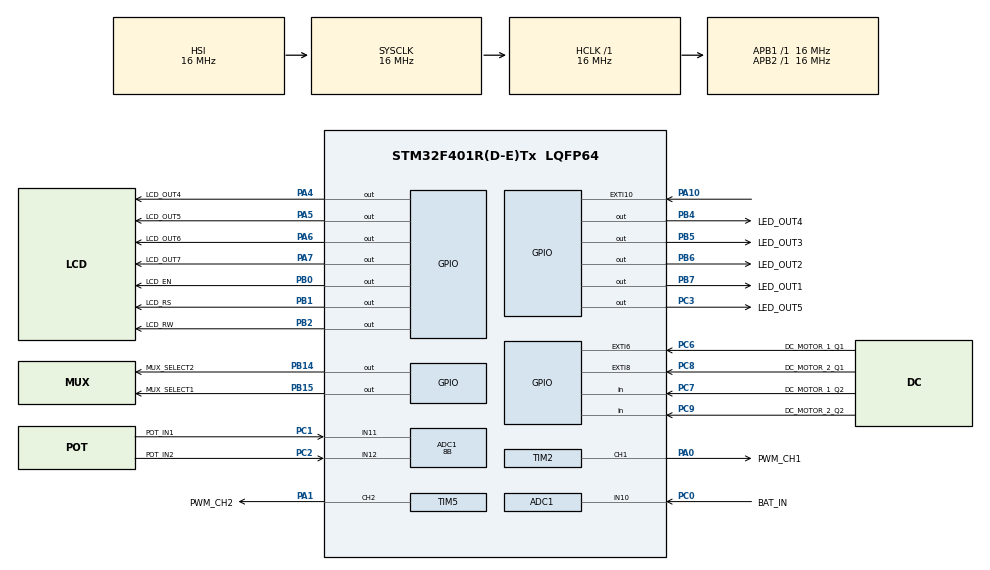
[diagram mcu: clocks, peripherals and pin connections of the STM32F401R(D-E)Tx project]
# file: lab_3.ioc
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Mcu.Family=STM32F4
VP_TIM5_VS_ClockSourceINT.Mode=Internal
RCC.CortexFreq_Value=16000000
PB14.GPIO_Label=MUX_SELECT2
SH.S_TIM5_CH2.0=TIM5_CH2,PWM Generation2 CH2
PC0.GPIO_Label=BAT_IN
PC6.GPIO_Label=DC_MOTOR_1_Q1
PA6.GPIO_Label=LCD_OUT6
PB0.GPIO_Label=LCD_EN
PB6.GPIO_Label=LED_OUT2
PB15.Signal=GPIO_Output
ProjectManager.StackSize=0x400
TIM1.Prescaler=159
NVIC.TIM5_IRQn=true\:0\:0\:false\:false\:true\:true\:true
RCC.HCLKFreq_Value=16000000
ADC1.Resolution=ADC_RESOLUTION_8B
RCC.APB2TimFreq_Value=16000000
PB6.Signal=GPIO_Output
PC7.Signal=GPIO_Input
TIM2.Channel-Output\ Compare2\ No\ Output=TIM_CHANNEL_2
PC3.Signal=GPIO_Output
RCC.AHBFreq_Value=16000000
NVIC.EXTI15_10_IRQn=true\:0\:0\:false\:false\:true\:true\:true
RCC.HSE_VALUE=25000000
PB2.Signal=GPIO_Output
TIM3.Prescaler=122
PB1.GPIO_Label=LCD_RS
NVIC.TIM2_IRQn=true\:0\:0\:false\:false\:true\:true\:true
PB7.Signal=GPIO_Output
TIM2.Channel-PWM\ Generation1\ CH1=TIM_CHANNEL_1
VP_TIM1_VS_ClockSourceINT.Mode=Internal
PB7.GPIO_Label=LED_OUT1
Mcu.Package=LQFP64
TIM2.Prescaler=159
PB1.Signal=GPIO_Output
PA6.Signal=GPIO_Output
PA10.GPIO_ModeDefaultEXTI=GPIO_MODE_IT_RISING_FALLING
PA10.Signal=GPXTI10
PB5.GPIO_Label=LED_OUT3
RCC.APB1TimFreq_Value=16000000
PA4.GPIO_Label=LCD_OUT4
PC2.GPIO_Label=POT_IN2
VP_TIM3_VS_ClockSourceINT.Mode=Internal
PB4.Signal=GPIO_Output
TIM5.Pulse-PWM\ Generation2\ CH2=500
TIM3.Channel-Output\ Compare1\ No\ Output=TIM_CHANNEL_1
PC9.GPIO_Label=DC_MOTOR_2_Q2
PC8.Signal=GPXTI8
PC2.Signal=ADCx_IN12
PC6.Signal=GPXTI6
PC0.Signal=ADCx_IN10
PA0-WKUP.GPIO_Label=PWM_CH1
PA0-WKUP.Signal=S_TIM2_CH1_ETR
TIM2.Pulse-PWM\ Generation1\ CH1=500
PC8.GPIO_Label=DC_MOTOR_2_Q1
SH.ADCx_IN12.0=ADC1_IN12,IN12
ProjectManager.TargetToolchain=STM32CubeIDE
ADC1.Channel-1\#ChannelRegularConversion=ADC_CHANNEL_10
TIM4.Prescaler=159
RCC.LSE_VALUE=32768
PA1.Signal=S_TIM5_CH2
PB14.Signal=GPIO_Output
PA5.Signal=GPIO_Output
board=custom
VP_TIM3_VS_no_output1.Mode=Output Compare1 No Output
RCC.VCOOutputFreq_Value=192000000
NVIC.TIM3_IRQn=true\:0\:0\:false\:false\:true\:true\:true
ADC1.EnableAnalogWatchDog=false
RCC.APB2Freq_Value=16000000
SH.ADCx_IN11.0=ADC1_IN11,IN11
PB4.GPIO_Label=LED_OUT4
PB15.GPIO_Label=MUX_SELECT1
VP_TIM2_VS_ClockSourceINT.Mode=Internal
PC1.GPIO_Label=POT_IN1
PA1.GPIO_Label=PWM_CH2
TIM2.Period=1000
VP_TIM2_VS_no_output2.Mode=Output Compare2 No Output
Mcu.Name=STM32F401R(D-E)Tx
PC7.GPIO_Label=DC_MOTOR_1_Q2
TIM5.Channel-PWM\ Generation2\ CH2=TIM_CHANNEL_2
PA4.Signal=GPIO_Output
RCC.SYSCLKFreq_VALUE=16000000
PB5.Signal=GPIO_Output
TIM2.Pulse-Output\ Compare2\ No\ Output=500
PA7.GPIO_Label=LCD_OUT7
ADC1.master=1
PA5.GPIO_Label=LCD_OUT5
TIM5.Prescaler=159
SH.S_TIM2_CH1_ETR.0=TIM2_CH1,PWM Generation1 CH1
NVIC.EXTI9_5_IRQn=true\:0\:0\:false\:false\:true\:true\:true
SH.ADCx_IN10.0=ADC1_IN10,IN10
PB2.GPIO_Label=LCD_RW
ProjectManager.HeapSize=0x200
RCC.HSI_VALUE=16000000
VP_TIM4_VS_ClockSourceINT.Mode=Internal
NVIC.PriorityGroup=NVIC_PRIORITYGROUP_4
ADC1.NbrOfConversionFlag=1
PC3.GPIO_Label=LED_OUT5
TIM5.Period=1000
PC9.Signal=GPIO_Input
RCC.APB1Freq_Value=16000000
PB0.Signal=GPIO_Output
ADC1.ClockPrescaler=ADC_CLOCK_SYNC_PCLK_DIV8
PC1.Signal=ADCx_IN11
PA7.Signal=GPIO_Output

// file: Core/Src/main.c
/* USER CODE BEGIN Header */
/**
  ******************************************************************************
  * @file           : main.c
  * @brief          : Main program body
  ******************************************************************************
  * @attention
  *
  * <h2><center>&copy; Copyright (c) 2021 STMicroelectronics.
  * All rights reserved.</center></h2>
  *
  * This software component is licensed by ST under BSD 3-Clause license,
  * the "License"; You may not use this file except in compliance with the
  * License. You may obtain a copy of the License at:
  *                        opensource.org/licenses/BSD-3-Clause
  *
  ******************************************************************************
  */
/* USER CODE END Header */
#include "main.h"

/* USER CODE BEGIN Includes */
#include "lcd16x2.h"
#include "pid.h"
#include <string.h>
#include <stdio.h>
#include <stdarg.h>
#include <math.h>

/* USER CODE END Includes */

ADC_HandleTypeDef hadc1;

TIM_HandleTypeDef htim1;
TIM_HandleTypeDef htim2;
TIM_HandleTypeDef htim3;
TIM_HandleTypeDef htim4;
TIM_HandleTypeDef htim5;

/* USER CODE BEGIN PV */
int _16_BIT_FLAG = 0xFFFF;
double MID_POT_VOLTAGE = 1.5;
double VBAT_MAX = 12.0;
/* USER CODE END PV */

void SystemClock_Config(void);
static void MX_GPIO_Init(void);
static void MX_ADC1_Init(void);
static void MX_TIM5_Init(void);
static void MX_TIM2_Init(void);
static void MX_TIM1_Init(void);
static void MX_TIM4_Init(void);
static void MX_TIM3_Init(void);
/* USER CODE BEGIN PFP */
void select_ADC_CH10(void);
void select_ADC_CH11(void);
void select_ADC_CH12(void);

double get_pot_voltage(int pot);
double get_battery_voltage(void);

double get_rot_speed_set_l(double pot1Voltage, double pot2Voltage);
double get_rot_speed_set_r(double pot1Voltage, double pot2Voltage);
void set_PWM_pulse( double pulse_l, double pulse_r );

void display_lcd(void);
void set_battery_indicator_leds( uint8_t LED_state );

void switch_1();
void switch_2();

/* USER CODE END PFP */

/* USER CODE BEGIN 0 */
double rrpm = 0;
double lrpm = 0;
bool mode = 1;

/* USER CODE END 0 */

int main(void)
{
  /* USER CODE BEGIN 1 */
  double battery_voltage;
  double pot1Voltage;
  double pot2Voltage;
  double rot_speed_l_set;
  double rot_speed_r_set;
  int pulse_r;
  int pulse_l;

  /* USER CODE END 1 */

  /* MCU Configuration--------------------------------------------------------*/

  /* Reset of all peripherals, Initializes the Flash interface and the Systick. */
  HAL_Init();

  /* Configure the system clock */
  SystemClock_Config();

  /* Initialize all configured peripherals */
  MX_GPIO_Init();
  MX_ADC1_Init();
  MX_TIM1_Init();
  MX_TIM2_Init();
  MX_TIM3_Init();
  MX_TIM4_Init();
  MX_TIM5_Init();
  /* USER CODE BEGIN 2 */

  // begin transmitting 0% duty cycle PWM and timers
  HAL_TIM_Base_Start_IT(&htim2);
  HAL_TIM_PWM_Start(&htim2, TIM_CHANNEL_1);

  HAL_TIM_Base_Start_IT(&htim5);
  HAL_TIM_PWM_Start(&htim5, TIM_CHANNEL_2);

  HAL_TIM_Base_Start_IT(&htim3);
  HAL_TIM_OC_Start_IT(&htim3, TIM_CHANNEL_1);

  HAL_TIM_Base_Start_IT(&htim1);
  HAL_TIM_Base_Start_IT(&htim4);

  // initialize LCD
  lcd16x2_init_4bits(GPIOB, LCD_RS_Pin, LCD_EN_Pin,
		  GPIOA, LCD_OUT4_Pin, LCD_OUT5_Pin, LCD_OUT6_Pin, LCD_OUT7_Pin);
  lcd16x2_cursorShow(false);

  // initialize PID structs to control DC motors
  struct PID *pid_motor_r, pid1;
  pid_motor_r = &pid1;
  struct PID *pid_motor_l, pid2;
  pid_motor_l = &pid2;

  double K_p = 350;
  double K_i = 300;
  double K_d = 75;
  int max_pulse = 1000;
  int min_pulse = -1000;

  init_pid(pid_motor_r, K_p, K_i, K_d, max_pulse, min_pulse);
  init_pid(pid_motor_l, K_p, K_i, K_d, max_pulse, min_pulse);

  // detect mode and set LEDs before loop
  if ( HAL_GPIO_ReadPin( GPIOA, GPIO_PIN_10 ) ) {
	  mode = 1;
	  HAL_GPIO_WritePin(GPIOC, LED_OUT5_Pin, GPIO_PIN_SET);
	  HAL_TIM_OC_DelayElapsedCallback(&htim3);
  } else {
	  mode = 0;
  }

  /* USER CODE END 2 */

  /* Infinite loop */
  /* USER CODE BEGIN WHILE */
  while (1)
    {
  	  if (mode == 1) {
  		  pot1Voltage = get_pot_voltage(1);
  		  pot2Voltage = get_pot_voltage(2);

  		  rot_speed_l_set = get_rot_speed_set_l( pot1Voltage, pot2Voltage );
  		  rot_speed_r_set = get_rot_speed_set_r( pot1Voltage, pot2Voltage );

  		  pid_motor_l->u = rot_speed_l_set;
  		  pid_motor_r->u = rot_speed_r_set;

  		  pulse_l = set_pulse_PID(pid_motor_l, rot_speed_l_set, lrpm);
  		  pulse_r = set_pulse_PID(pid_motor_r, rot_speed_r_set, rrpm);

  		  display_lcd();

  	  } else {

  		  // if low RPM turn off PWM signals
  		  if (fabs(lrpm) < 30.0) {
  			  pulse_l = 0;
  		  } else {
  	  		  pulse_l = set_pulse_PID(pid_motor_l, 0, lrpm);
  		  }

  		  if (fabs(rrpm) < 30.0) {
  			  pulse_r = 0;
  		  } else {
  	  		  pulse_r = set_pulse_PID(pid_motor_r, 0, rrpm);
  		  }

  		  lcd16x2_clear();
  	  }

	  set_PWM_pulse( pulse_l, pulse_r );

    /* USER CODE END WHILE */

  }
}

void SystemClock_Config(void)
{
  RCC_OscInitTypeDef RCC_OscInitStruct = {0};
  RCC_ClkInitTypeDef RCC_ClkInitStruct = {0};

  /** Configure the main internal regulator output voltage
  */
  __HAL_RCC_PWR_CLK_ENABLE();
  __HAL_PWR_VOLTAGESCALING_CONFIG(PWR_REGULATOR_VOLTAGE_SCALE2);
  /** Initializes the RCC Oscillators according to the specified parameters
  * in the RCC_OscInitTypeDef structure.
  */
  RCC_OscInitStruct.OscillatorType = RCC_OSCILLATORTYPE_HSI;
  RCC_OscInitStruct.HSIState = RCC_HSI_ON;
  RCC_OscInitStruct.HSICalibrationValue = RCC_HSICALIBRATION_DEFAULT;
  RCC_OscInitStruct.PLL.PLLState = RCC_PLL_NONE;
  if (HAL_RCC_OscConfig(&RCC_OscInitStruct) != HAL_OK)
  {
    Error_Handler();
  }
  /** Initializes the CPU, AHB and APB buses clocks
  */
  RCC_ClkInitStruct.ClockType = RCC_CLOCKTYPE_HCLK|RCC_CLOCKTYPE_SYSCLK
                              |RCC_CLOCKTYPE_PCLK1|RCC_CLOCKTYPE_PCLK2;
  RCC_ClkInitStruct.SYSCLKSource = RCC_SYSCLKSOURCE_HSI;
  RCC_ClkInitStruct.AHBCLKDivider = RCC_SYSCLK_DIV1;
  RCC_ClkInitStruct.APB1CLKDivider = RCC_HCLK_DIV1;
  RCC_ClkInitStruct.APB2CLKDivider = RCC_HCLK_DIV1;

  if (HAL_RCC_ClockConfig(&RCC_ClkInitStruct, FLASH_LATENCY_0) != HAL_OK)
  {
    Error_Handler();
  }
}

static void MX_ADC1_Init(void)
{

  ADC_ChannelConfTypeDef sConfig = {0};

  /** Configure the global features of the ADC (Clock, Resolution, Data Alignment and number of conversion)
  */
  hadc1.Instance = ADC1;
  hadc1.Init.ClockPrescaler = ADC_CLOCK_SYNC_PCLK_DIV8;
  hadc1.Init.Resolution = ADC_RESOLUTION_8B;
  hadc1.Init.ScanConvMode = DISABLE;
  hadc1.Init.ContinuousConvMode = DISABLE;
  hadc1.Init.DiscontinuousConvMode = DISABLE;
  hadc1.Init.ExternalTrigConvEdge = ADC_EXTERNALTRIGCONVEDGE_NONE;
  hadc1.Init.ExternalTrigConv = ADC_SOFTWARE_START;
  hadc1.Init.DataAlign = ADC_DATAALIGN_RIGHT;
  hadc1.Init.NbrOfConversion = 1;
  hadc1.Init.DMAContinuousRequests = DISABLE;
  hadc1.Init.EOCSelection = ADC_EOC_SINGLE_CONV;
  if (HAL_ADC_Init(&hadc1) != HAL_OK)
  {
    Error_Handler();
  }
  /** Configure for the selected ADC regular channel its corresponding rank in the sequencer and its sample time.
  */
  sConfig.Channel = ADC_CHANNEL_10;
  sConfig.Rank = 1;
  sConfig.SamplingTime = ADC_SAMPLETIME_3CYCLES;
  if (HAL_ADC_ConfigChannel(&hadc1, &sConfig) != HAL_OK)
  {
    Error_Handler();
  }

}

static void MX_TIM1_Init(void)
{

  TIM_ClockConfigTypeDef sClockSourceConfig = {0};
  TIM_MasterConfigTypeDef sMasterConfig = {0};

  htim1.Instance = TIM1;
  htim1.Init.Prescaler = 159;
  htim1.Init.CounterMode = TIM_COUNTERMODE_UP;
  htim1.Init.Period = 65535;
  htim1.Init.ClockDivision = TIM_CLOCKDIVISION_DIV1;
  htim1.Init.RepetitionCounter = 0;
  htim1.Init.AutoReloadPreload = TIM_AUTORELOAD_PRELOAD_DISABLE;
  if (HAL_TIM_Base_Init(&htim1) != HAL_OK)
  {
    Error_Handler();
  }
  sClockSourceConfig.ClockSource = TIM_CLOCKSOURCE_INTERNAL;
  if (HAL_TIM_ConfigClockSource(&htim1, &sClockSourceConfig) != HAL_OK)
  {
    Error_Handler();
  }
  sMasterConfig.MasterOutputTrigger = TIM_TRGO_RESET;
  sMasterConfig.MasterSlaveMode = TIM_MASTERSLAVEMODE_DISABLE;
  if (HAL_TIMEx_MasterConfigSynchronization(&htim1, &sMasterConfig) != HAL_OK)
  {
    Error_Handler();
  }

}

static void MX_TIM2_Init(void)
{

  TIM_ClockConfigTypeDef sClockSourceConfig = {0};
  TIM_MasterConfigTypeDef sMasterConfig = {0};
  TIM_OC_InitTypeDef sConfigOC = {0};

  htim2.Instance = TIM2;
  htim2.Init.Prescaler = 159;
  htim2.Init.CounterMode = TIM_COUNTERMODE_UP;
  htim2.Init.Period = 1000;
  htim2.Init.ClockDivision = TIM_CLOCKDIVISION_DIV1;
  htim2.Init.AutoReloadPreload = TIM_AUTORELOAD_PRELOAD_DISABLE;
  if (HAL_TIM_Base_Init(&htim2) != HAL_OK)
  {
    Error_Handler();
  }
  sClockSourceConfig.ClockSource = TIM_CLOCKSOURCE_INTERNAL;
  if (HAL_TIM_ConfigClockSource(&htim2, &sClockSourceConfig) != HAL_OK)
  {
    Error_Handler();
  }
  if (HAL_TIM_PWM_Init(&htim2) != HAL_OK)
  {
    Error_Handler();
  }
  if (HAL_TIM_OC_Init(&htim2) != HAL_OK)
  {
    Error_Handler();
  }
  sMasterConfig.MasterOutputTrigger = TIM_TRGO_RESET;
  sMasterConfig.MasterSlaveMode = TIM_MASTERSLAVEMODE_DISABLE;
  if (HAL_TIMEx_MasterConfigSynchronization(&htim2, &sMasterConfig) != HAL_OK)
  {
    Error_Handler();
  }
  sConfigOC.OCMode = TIM_OCMODE_PWM1;
  sConfigOC.Pulse = 500;
  sConfigOC.OCPolarity = TIM_OCPOLARITY_HIGH;
  sConfigOC.OCFastMode = TIM_OCFAST_DISABLE;
  if (HAL_TIM_PWM_ConfigChannel(&htim2, &sConfigOC, TIM_CHANNEL_1) != HAL_OK)
  {
    Error_Handler();
  }
  sConfigOC.OCMode = TIM_OCMODE_TIMING;
  if (HAL_TIM_OC_ConfigChannel(&htim2, &sConfigOC, TIM_CHANNEL_2) != HAL_OK)
  {
    Error_Handler();
  }
  HAL_TIM_MspPostInit(&htim2);

}

static void MX_TIM3_Init(void)
{

  TIM_ClockConfigTypeDef sClockSourceConfig = {0};
  TIM_MasterConfigTypeDef sMasterConfig = {0};
  TIM_OC_InitTypeDef sConfigOC = {0};

  htim3.Instance = TIM3;
  htim3.Init.Prescaler = 122;
  htim3.Init.CounterMode = TIM_COUNTERMODE_UP;
  htim3.Init.Period = 65535;
  htim3.Init.ClockDivision = TIM_CLOCKDIVISION_DIV1;
  htim3.Init.AutoReloadPreload = TIM_AUTORELOAD_PRELOAD_DISABLE;
  if (HAL_TIM_Base_Init(&htim3) != HAL_OK)
  {
    Error_Handler();
  }
  sClockSourceConfig.ClockSource = TIM_CLOCKSOURCE_INTERNAL;
  if (HAL_TIM_ConfigClockSource(&htim3, &sClockSourceConfig) != HAL_OK)
  {
    Error_Handler();
  }
  if (HAL_TIM_OC_Init(&htim3) != HAL_OK)
  {
    Error_Handler();
  }
  sMasterConfig.MasterOutputTrigger = TIM_TRGO_RESET;
  sMasterConfig.MasterSlaveMode = TIM_MASTERSLAVEMODE_DISABLE;
  if (HAL_TIMEx_MasterConfigSynchronization(&htim3, &sMasterConfig) != HAL_OK)
  {
    Error_Handler();
  }
  sConfigOC.OCMode = TIM_OCMODE_TIMING;
  sConfigOC.Pulse = 500;
  sConfigOC.OCPolarity = TIM_OCPOLARITY_HIGH;
  sConfigOC.OCFastMode = TIM_OCFAST_DISABLE;
  if (HAL_TIM_OC_ConfigChannel(&htim3, &sConfigOC, TIM_CHANNEL_1) != HAL_OK)
  {
    Error_Handler();
  }

}

static void MX_TIM4_Init(void)
{

  TIM_ClockConfigTypeDef sClockSourceConfig = {0};
  TIM_MasterConfigTypeDef sMasterConfig = {0};

  htim4.Instance = TIM4;
  htim4.Init.Prescaler = 159;
  htim4.Init.CounterMode = TIM_COUNTERMODE_UP;
  htim4.Init.Period = 65535;
  htim4.Init.ClockDivision = TIM_CLOCKDIVISION_DIV1;
  htim4.Init.AutoReloadPreload = TIM_AUTORELOAD_PRELOAD_DISABLE;
  if (HAL_TIM_Base_Init(&htim4) != HAL_OK)
  {
    Error_Handler();
  }
  sClockSourceConfig.ClockSource = TIM_CLOCKSOURCE_INTERNAL;
  if (HAL_TIM_ConfigClockSource(&htim4, &sClockSourceConfig) != HAL_OK)
  {
    Error_Handler();
  }
  sMasterConfig.MasterOutputTrigger = TIM_TRGO_RESET;
  sMasterConfig.MasterSlaveMode = TIM_MASTERSLAVEMODE_DISABLE;
  if (HAL_TIMEx_MasterConfigSynchronization(&htim4, &sMasterConfig) != HAL_OK)
  {
    Error_Handler();
  }

}

static void MX_TIM5_Init(void)
{

  TIM_ClockConfigTypeDef sClockSourceConfig = {0};
  TIM_MasterConfigTypeDef sMasterConfig = {0};
  TIM_OC_InitTypeDef sConfigOC = {0};

  htim5.Instance = TIM5;
  htim5.Init.Prescaler = 159;
  htim5.Init.CounterMode = TIM_COUNTERMODE_UP;
  htim5.Init.Period = 1000;
  htim5.Init.ClockDivision = TIM_CLOCKDIVISION_DIV1;
  htim5.Init.AutoReloadPreload = TIM_AUTORELOAD_PRELOAD_DISABLE;
  if (HAL_TIM_Base_Init(&htim5) != HAL_OK)
  {
    Error_Handler();
  }
  sClockSourceConfig.ClockSource = TIM_CLOCKSOURCE_INTERNAL;
  if (HAL_TIM_ConfigClockSource(&htim5, &sClockSourceConfig) != HAL_OK)
  {
    Error_Handler();
  }
  if (HAL_TIM_PWM_Init(&htim5) != HAL_OK)
  {
    Error_Handler();
  }
  sMasterConfig.MasterOutputTrigger = TIM_TRGO_RESET;
  sMasterConfig.MasterSlaveMode = TIM_MASTERSLAVEMODE_DISABLE;
  if (HAL_TIMEx_MasterConfigSynchronization(&htim5, &sMasterConfig) != HAL_OK)
  {
    Error_Handler();
  }
  sConfigOC.OCMode = TIM_OCMODE_PWM1;
  sConfigOC.Pulse = 500;
  sConfigOC.OCPolarity = TIM_OCPOLARITY_HIGH;
  sConfigOC.OCFastMode = TIM_OCFAST_DISABLE;
  if (HAL_TIM_PWM_ConfigChannel(&htim5, &sConfigOC, TIM_CHANNEL_2) != HAL_OK)
  {
    Error_Handler();
  }
  HAL_TIM_MspPostInit(&htim5);

}

static void MX_GPIO_Init(void)
{
  GPIO_InitTypeDef GPIO_InitStruct = {0};

  /* GPIO Ports Clock Enable */
  __HAL_RCC_GPIOC_CLK_ENABLE();
  __HAL_RCC_GPIOA_CLK_ENABLE();
  __HAL_RCC_GPIOB_CLK_ENABLE();

  /*Configure GPIO pin Output Level */
  HAL_GPIO_WritePin(LED_OUT5_GPIO_Port, LED_OUT5_Pin, GPIO_PIN_RESET);

  /*Configure GPIO pin Output Level */
  HAL_GPIO_WritePin(GPIOA, LCD_OUT4_Pin|LCD_OUT5_Pin|LCD_OUT6_Pin|LCD_OUT7_Pin, GPIO_PIN_RESET);

  /*Configure GPIO pin Output Level */
  HAL_GPIO_WritePin(GPIOB, LCD_EN_Pin|LCD_RS_Pin|LCD_RW_Pin|MUX_SELECT2_Pin
                          |MUX_SELECT1_Pin|LED_OUT4_Pin|LED_OUT3_Pin|LED_OUT2_Pin
                          |LED_OUT1_Pin, GPIO_PIN_RESET);

  /*Configure GPIO pin : LED_OUT5_Pin */
  GPIO_InitStruct.Pin = LED_OUT5_Pin;
  GPIO_InitStruct.Mode = GPIO_MODE_OUTPUT_PP;
  GPIO_InitStruct.Pull = GPIO_NOPULL;
  GPIO_InitStruct.Speed = GPIO_SPEED_FREQ_LOW;
  HAL_GPIO_Init(LED_OUT5_GPIO_Port, &GPIO_InitStruct);

  /*Configure GPIO pins : LCD_OUT4_Pin LCD_OUT5_Pin LCD_OUT6_Pin LCD_OUT7_Pin */
  GPIO_InitStruct.Pin = LCD_OUT4_Pin|LCD_OUT5_Pin|LCD_OUT6_Pin|LCD_OUT7_Pin;
  GPIO_InitStruct.Mode = GPIO_MODE_OUTPUT_PP;
  GPIO_InitStruct.Pull = GPIO_NOPULL;
  GPIO_InitStruct.Speed = GPIO_SPEED_FREQ_LOW;
  HAL_GPIO_Init(GPIOA, &GPIO_InitStruct);

  /*Configure GPIO pins : LCD_EN_Pin LCD_RS_Pin LCD_RW_Pin MUX_SELECT2_Pin
                           MUX_SELECT1_Pin LED_OUT4_Pin LED_OUT3_Pin LED_OUT2_Pin
                           LED_OUT1_Pin */
  GPIO_InitStruct.Pin = LCD_EN_Pin|LCD_RS_Pin|LCD_RW_Pin|MUX_SELECT2_Pin
                          |MUX_SELECT1_Pin|LED_OUT4_Pin|LED_OUT3_Pin|LED_OUT2_Pin
                          |LED_OUT1_Pin;
  GPIO_InitStruct.Mode = GPIO_MODE_OUTPUT_PP;
  GPIO_InitStruct.Pull = GPIO_NOPULL;
  GPIO_InitStruct.Speed = GPIO_SPEED_FREQ_LOW;
  HAL_GPIO_Init(GPIOB, &GPIO_InitStruct);

  /*Configure GPIO pins : DC_MOTOR_1_Q1_Pin DC_MOTOR_2_Q1_Pin */
  GPIO_InitStruct.Pin = DC_MOTOR_1_Q1_Pin|DC_MOTOR_2_Q1_Pin;
  GPIO_InitStruct.Mode = GPIO_MODE_IT_RISING;
  GPIO_InitStruct.Pull = GPIO_NOPULL;
  HAL_GPIO_Init(GPIOC, &GPIO_InitStruct);

  /*Configure GPIO pins : DC_MOTOR_1_Q2_Pin DC_MOTOR_2_Q2_Pin */
  GPIO_InitStruct.Pin = DC_MOTOR_1_Q2_Pin|DC_MOTOR_2_Q2_Pin;
  GPIO_InitStruct.Mode = GPIO_MODE_INPUT;
  GPIO_InitStruct.Pull = GPIO_NOPULL;
  HAL_GPIO_Init(GPIOC, &GPIO_InitStruct);

  /*Configure GPIO pin : PA10 */
  GPIO_InitStruct.Pin = GPIO_PIN_10;
  GPIO_InitStruct.Mode = GPIO_MODE_IT_RISING_FALLING;
  GPIO_InitStruct.Pull = GPIO_NOPULL;
  HAL_GPIO_Init(GPIOA, &GPIO_InitStruct);

  /* EXTI interrupt init*/
  HAL_NVIC_SetPriority(EXTI9_5_IRQn, 0, 0);
  HAL_NVIC_EnableIRQ(EXTI9_5_IRQn);

  HAL_NVIC_SetPriority(EXTI15_10_IRQn, 0, 0);
  HAL_NVIC_EnableIRQ(EXTI15_10_IRQn);

}

/* USER CODE BEGIN 4 */

/**
  * @GPIO EXTI interrupt handler
  * @GPIO_Pin pin which calls the interrupt
  */
void HAL_GPIO_EXTI_Callback( uint16_t GPIO_Pin ) {
	// Q1 pin of left motor
	if ( GPIO_Pin == DC_MOTOR_1_Q1_Pin ) {
		int cycle_count = __HAL_TIM_GET_COUNTER(&htim1);
		lrpm = (double) 60.0/(1.0e-5*24.0*cycle_count);

		if ( HAL_GPIO_ReadPin( GPIOC, DC_MOTOR_1_Q2_Pin ) ) {
			lrpm *= -1.0;
		}

		__HAL_TIM_SET_COUNTER(&htim1, 0);

	// Q1 pin of right motor
	} else if ( GPIO_Pin == DC_MOTOR_2_Q1_Pin ) {
		int cycle_count = __HAL_TIM_GET_COUNTER(&htim4);
		rrpm = (double)60.0/(1.0e-5*24.0*cycle_count);

		if ( HAL_GPIO_ReadPin( GPIOC, DC_MOTOR_2_Q2_Pin ) ) {
			rrpm *= -1.0;
		}

		__HAL_TIM_SET_COUNTER(&htim4, 0);

	// digital switch
	} else if ( GPIO_Pin == GPIO_PIN_10 ) {
		mode ^= 1;
		__HAL_TIM_SET_COUNTER(&htim1, 0);
		__HAL_TIM_SET_COUNTER(&htim4, 0);

		// Set LEDs and LCD based on new mode
		if (mode) {
			rrpm = 0.0;
			lrpm = 0.0;
			HAL_GPIO_WritePin(GPIOC, LED_OUT5_Pin, GPIO_PIN_SET);
			HAL_TIM_OC_Start_IT(&htim3, TIM_CHANNEL_1);
			HAL_TIM_OC_DelayElapsedCallback(&htim3);

		// turn off LEDs and reset counter
		} else {
			HAL_GPIO_WritePin(GPIOB, LED_OUT1_Pin, GPIO_PIN_RESET);
			HAL_GPIO_WritePin(GPIOB, LED_OUT2_Pin, GPIO_PIN_RESET);
			HAL_GPIO_WritePin(GPIOB, LED_OUT3_Pin, GPIO_PIN_RESET);
			HAL_GPIO_WritePin(GPIOB, LED_OUT4_Pin, GPIO_PIN_RESET);
			HAL_GPIO_WritePin(GPIOC, LED_OUT5_Pin, GPIO_PIN_RESET);
			__HAL_TIM_SET_COUNTER(&htim3, 0);
			HAL_TIM_OC_Stop(&htim3, TIM_CHANNEL_1);
		}
	}
}

/**
  * @Timer interrupt handler
  */
void HAL_TIM_OC_DelayElapsedCallback(TIM_HandleTypeDef *htim)
{
  if (htim == &htim3) {
	  if (mode) {
		  double battery_voltage = get_battery_voltage();
		  uint8_t LED_state;

		  if (battery_voltage >= 0.9*VBAT_MAX) {
			  LED_state = 0b1000;
		  } else if (battery_voltage >= 0.8*VBAT_MAX) {
			  LED_state = 0b0100;
		  } else if (battery_voltage >= 0.6*VBAT_MAX) {
			  LED_state = 0b0010;
		  } else {
			  LED_state = 0b0001;
		  }

		  set_battery_indicator_leds(LED_state);
	  }
  }
}
/**
  * @Select channel 10 of the ADC
  * @Param none
  */
void select_ADC_CH10(void) {
  ADC_ChannelConfTypeDef sConfig = {0};
  sConfig.Channel = ADC_CHANNEL_10;
  sConfig.Rank = 1;
  sConfig.SamplingTime = ADC_SAMPLETIME_3CYCLES;
  if (HAL_ADC_ConfigChannel(&hadc1, &sConfig) != HAL_OK)
  {
	Error_Handler();
  }
}

/**
  * @Select channel 11 of the ADC
  * @Param none
  */
void select_ADC_CH11(void) {
  ADC_ChannelConfTypeDef sConfig = {0};
  sConfig.Channel = ADC_CHANNEL_11;
  sConfig.Rank = 1;
  sConfig.SamplingTime = ADC_SAMPLETIME_3CYCLES;
  if (HAL_ADC_ConfigChannel(&hadc1, &sConfig) != HAL_OK)
  {
	Error_Handler();
  }
}

/**
  * @Select channel 12 of the ADC
  * @Param none
  */
void select_ADC_CH12(void) {
  ADC_ChannelConfTypeDef sConfig = {0};
  sConfig.Channel = ADC_CHANNEL_12;
  sConfig.Rank = 1;
  sConfig.SamplingTime = ADC_SAMPLETIME_3CYCLES;
  if (HAL_ADC_ConfigChannel(&hadc1, &sConfig) != HAL_OK)
  {
	Error_Handler();
  }
}

/**
  * @Return rounded value of potentiometer voltage
  * @pot = 1 for speed potentiometer, 2 for steering potentiometer
  */
double get_pot_voltage( int pot ) {
	if (pot == 1) {
		select_ADC_CH11();
	} else if (pot == 2) {
		select_ADC_CH12();
	}

	HAL_ADC_Start(&hadc1);
	HAL_ADC_PollForConversion(&hadc1, HAL_MAX_DELAY);
	uint8_t sample = HAL_ADC_GetValue(&hadc1);

	double ret = (double) sample*(3.3/255.0);
	ret = roundf(ret*10)/10.0;

	return ret;
}

/**
  * @Measure the voltage of the battery sensor circuit
  * @Param none
  */
double get_battery_voltage(void) {
	select_ADC_CH10();
	HAL_ADC_Start(&hadc1);
	HAL_ADC_PollForConversion(&hadc1, HAL_MAX_DELAY);
	uint8_t sample = HAL_ADC_GetValue(&hadc1);
	double ret = (double) sample*(12.0/255.0);

	return ret;
}

/**
  * @Calculate the rotation speed of the left DC motor
  * 		based off the potentiometer voltages
  * @Param:
  * pot1Voltage - voltage of speed potentiometer
  * pot2Voltage - voltage of steering potentiometer
  */
double get_rot_speed_set_l( double pot1Voltage, double pot2Voltage ) {
	double speed_setting = (pot1Voltage - 1.5)*10.0/1.5;
	double steer_setting = (pot2Voltage - 1.5)*10.0/1.5;

	double rot_speed;
	double speed_factor = 4*speed_setting;

	// turning right
	if (steer_setting >= 0.0) {
		rot_speed = speed_factor*10;
	// turning left
	} else {
		rot_speed = speed_factor*(10 + steer_setting);
	}

	return rot_speed;
}

/**
  * @Calculate the rotation speed of the right DC motor
  * 		based off the potentiometer voltages
  * @Param:
  * pot1Voltage - voltage of speed potentiometer
  * pot2Voltage - voltage of steering potentiometer
  */
double get_rot_speed_set_r( double pot1Voltage, double pot2Voltage ) {
	double speed_setting = (pot1Voltage - 1.5)*10.0/1.5;
	double steer_setting = (pot2Voltage - 1.5)*10.0/1.5;

	double rot_speed;
	double speed_factor = 4*speed_setting;

	// turning right
	if (steer_setting >= 0.0) {
		rot_speed = speed_factor*(10 - steer_setting);
	// turning left
	} else {
		rot_speed = speed_factor*10;
	}

	return rot_speed;
}

/**
  * @Set the duty cycle of the PWM signals fed to the DC motors
  * 	and set the MUX select based on positive/negative pulse values
  * @Param:
  * pulse_l - duty cycle of left DC motor PWM signal
  * pulse_r - duty cycle of right DC motor PWM signal
  */
void set_PWM_pulse( double pulse_l, double pulse_r ) {
	if ( pulse_l <= 0.0 ){
		HAL_GPIO_WritePin(GPIOB, MUX_SELECT1_Pin, GPIO_PIN_SET);
	} else {
		HAL_GPIO_WritePin(GPIOB, MUX_SELECT1_Pin, GPIO_PIN_RESET);
	}

	if ( pulse_r <= 0.0 ){
		HAL_GPIO_WritePin(GPIOB, MUX_SELECT2_Pin, GPIO_PIN_SET);
	} else {
		HAL_GPIO_WritePin(GPIOB, MUX_SELECT2_Pin, GPIO_PIN_RESET);
	}

	int pulse_li = (int) pulse_l;
	int pulse_ri = (int) pulse_r;

	__HAL_TIM_SET_COMPARE(&htim2, TIM_CHANNEL_1, abs(pulse_li));
	__HAL_TIM_SET_COMPARE(&htim5, TIM_CHANNEL_2, abs(pulse_ri));
}

/**
  * @Display text on the LCD in Run Mode
  * @Param none
  */
void display_lcd() {
	if (!mode) {
		return;
	}

	lcd16x2_1stLine();
	lcd16x2_printf("LRPM|  ON  |RRPM");
	lcd16x2_2ndLine();
	int wheel_lrpm = round(lrpm/6);
	int wheel_rrpm = round(rrpm/6);

	int n_spaces = 16;
	if (abs(wheel_lrpm/10) > 0) {
		n_spaces -= 2;
	} else {
		n_spaces -= 1;
	}
	if (abs(wheel_lrpm/10) > 0) {
		n_spaces -= 2;
	} else {
		n_spaces -= 1;
	}
	if (wheel_lrpm < 0) {
		n_spaces -= 1;
	}
	if (wheel_rrpm < 0) {
		n_spaces -= 1;
	}

	lcd16x2_printf("%d", wheel_lrpm);
	for (int i = 0; i < n_spaces; i++) {
		lcd16x2_printf(" ");
	}
	lcd16x2_printf("%d     ", wheel_rrpm);
}

/**
  * @Set the state of all LEDs based on the mode and battery voltage
  * @Param battery_voltage sensed from battery sensor circuit
  */
void set_battery_indicator_leds(uint8_t LED_state) {
	if (LED_state == 0) {
		HAL_GPIO_WritePin(GPIOB, LED_OUT1_Pin, GPIO_PIN_RESET);
		HAL_GPIO_WritePin(GPIOB, LED_OUT2_Pin, GPIO_PIN_RESET);
		HAL_GPIO_WritePin(GPIOB, LED_OUT3_Pin, GPIO_PIN_RESET);
		HAL_GPIO_WritePin(GPIOB, LED_OUT4_Pin, GPIO_PIN_RESET);
	} else if (LED_state&0b1000 && ( (LED_state^0b1000) == 0)) {
		HAL_GPIO_WritePin(GPIOB, LED_OUT1_Pin, GPIO_PIN_SET);
		HAL_GPIO_WritePin(GPIOB, LED_OUT2_Pin, GPIO_PIN_RESET);
		HAL_GPIO_WritePin(GPIOB, LED_OUT3_Pin, GPIO_PIN_RESET);
		HAL_GPIO_WritePin(GPIOB, LED_OUT4_Pin, GPIO_PIN_RESET);
	} else if (LED_state&0b0100 && ( (LED_state^0b0100) == 0)) {
		HAL_GPIO_WritePin(GPIOB, LED_OUT1_Pin, GPIO_PIN_RESET);
		HAL_GPIO_WritePin(GPIOB, LED_OUT2_Pin, GPIO_PIN_SET);
		HAL_GPIO_WritePin(GPIOB, LED_OUT3_Pin, GPIO_PIN_RESET);
		HAL_GPIO_WritePin(GPIOB, LED_OUT4_Pin, GPIO_PIN_RESET);
	} else if (LED_state&0b0010 && ( (LED_state^0b0010) == 0)) {
		HAL_GPIO_WritePin(GPIOB, LED_OUT1_Pin, GPIO_PIN_RESET);
		HAL_GPIO_WritePin(GPIOB, LED_OUT2_Pin, GPIO_PIN_RESET);
		HAL_GPIO_WritePin(GPIOB, LED_OUT3_Pin, GPIO_PIN_SET);
		HAL_GPIO_WritePin(GPIOB, LED_OUT4_Pin, GPIO_PIN_RESET);
	} else if (LED_state&0x0001 && ( (LED_state^0b0001) == 0)) {
		HAL_GPIO_WritePin(GPIOB, LED_OUT1_Pin, GPIO_PIN_RESET);
		HAL_GPIO_WritePin(GPIOB, LED_OUT2_Pin, GPIO_PIN_RESET);
		HAL_GPIO_WritePin(GPIOB, LED_OUT3_Pin, GPIO_PIN_RESET);
		HAL_GPIO_TogglePin(GPIOB, LED_OUT4_Pin);
	}
}

/* USER CODE END 4 */

void Error_Handler(void)
{
  __disable_irq();
  while (1)
  {
  }
}

/************************ (C) COPYRIGHT STMicroelectronics *****END OF FILE****/
